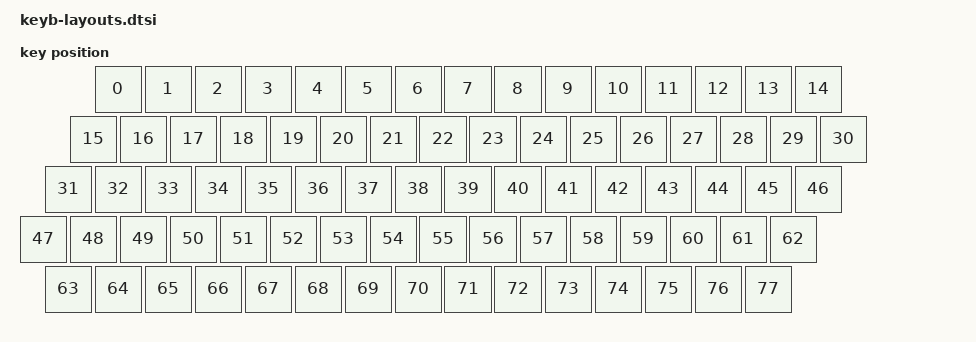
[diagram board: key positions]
#include <physical_layouts.dtsi>

/ {
    physical_layout0: physical_layout_0 {
        compatible = "zmk,physical-layout";
        display-name = "DefaultLayout";
        transform = <&default_transform>;

        keys  //                     w   h    x    y     rot    rx    ry
            = <&key_physical_attrs 100 100  150    0       0     0     0>
            , <&key_physical_attrs 100 100  250    0       0     0     0>
            , <&key_physical_attrs 100 100  350    0       0     0     0>
            , <&key_physical_attrs 100 100  450    0       0     0     0>
            , <&key_physical_attrs 100 100  550    0       0     0     0>
            , <&key_physical_attrs 100 100  650    0       0     0     0>
            , <&key_physical_attrs 100 100  750    0       0     0     0>
            , <&key_physical_attrs 100 100  850    0       0     0     0>
            , <&key_physical_attrs 100 100  950    0       0     0     0>
            , <&key_physical_attrs 100 100 1050    0       0     0     0>
            , <&key_physical_attrs 100 100 1150    0       0     0     0>
            , <&key_physical_attrs 100 100 1250    0       0     0     0>
            , <&key_physical_attrs 100 100 1350    0       0     0     0>
            , <&key_physical_attrs 100 100 1450    0       0     0     0>
            , <&key_physical_attrs 100 100 1550    0       0     0     0>
            , <&key_physical_attrs 100 100  100  100       0     0     0>
            , <&key_physical_attrs 100 100  200  100       0     0     0>
            , <&key_physical_attrs 100 100  300  100       0     0     0>
            , <&key_physical_attrs 100 100  400  100       0     0     0>
            , <&key_physical_attrs 100 100  500  100       0     0     0>
            , <&key_physical_attrs 100 100  600  100       0     0     0>
            , <&key_physical_attrs 100 100  700  100       0     0     0>
            , <&key_physical_attrs 100 100  800  100       0     0     0>
            , <&key_physical_attrs 100 100  900  100       0     0     0>
            , <&key_physical_attrs 100 100 1000  100       0     0     0>
            , <&key_physical_attrs 100 100 1100  100       0     0     0>
            , <&key_physical_attrs 100 100 1200  100       0     0     0>
            , <&key_physical_attrs 100 100 1300  100       0     0     0>
            , <&key_physical_attrs 100 100 1400  100       0     0     0>
            , <&key_physical_attrs 100 100 1500  100       0     0     0>
            , <&key_physical_attrs 100 100 1600  100       0     0     0>
            , <&key_physical_attrs 100 100   50  200       0     0     0>
            , <&key_physical_attrs 100 100  150  200       0     0     0>
            , <&key_physical_attrs 100 100  250  200       0     0     0>
            , <&key_physical_attrs 100 100  350  200       0     0     0>
            , <&key_physical_attrs 100 100  450  200       0     0     0>
            , <&key_physical_attrs 100 100  550  200       0     0     0>
            , <&key_physical_attrs 100 100  650  200       0     0     0>
            , <&key_physical_attrs 100 100  750  200       0     0     0>
            , <&key_physical_attrs 100 100  850  200       0     0     0>
            , <&key_physical_attrs 100 100  950  200       0     0     0>
            , <&key_physical_attrs 100 100 1050  200       0     0     0>
            , <&key_physical_attrs 100 100 1150  200       0     0     0>
            , <&key_physical_attrs 100 100 1250  200       0     0     0>
            , <&key_physical_attrs 100 100 1350  200       0     0     0>
            , <&key_physical_attrs 100 100 1450  200       0     0     0>
            , <&key_physical_attrs 100 100 1550  200       0     0     0>
            , <&key_physical_attrs 100 100    0  300       0     0     0>
            , <&key_physical_attrs 100 100  100  300       0     0     0>
            , <&key_physical_attrs 100 100  200  300       0     0     0>
            , <&key_physical_attrs 100 100  300  300       0     0     0>
            , <&key_physical_attrs 100 100  400  300       0     0     0>
            , <&key_physical_attrs 100 100  500  300       0     0     0>
            , <&key_physical_attrs 100 100  600  300       0     0     0>
            , <&key_physical_attrs 100 100  700  300       0     0     0>
            , <&key_physical_attrs 100 100  800  300       0     0     0>
            , <&key_physical_attrs 100 100  900  300       0     0     0>
            , <&key_physical_attrs 100 100 1000  300       0     0     0>
            , <&key_physical_attrs 100 100 1100  300       0     0     0>
            , <&key_physical_attrs 100 100 1200  300       0     0     0>
            , <&key_physical_attrs 100 100 1300  300       0     0     0>
            , <&key_physical_attrs 100 100 1400  300       0     0     0>
            , <&key_physical_attrs 100 100 1500  300       0     0     0>
            , <&key_physical_attrs 100 100   50  400       0     0     0>
            , <&key_physical_attrs 100 100  150  400       0     0     0>
            , <&key_physical_attrs 100 100  250  400       0     0     0>
            , <&key_physical_attrs 100 100  350  400       0     0     0>
            , <&key_physical_attrs 100 100  450  400       0     0     0>
            , <&key_physical_attrs 100 100  550  400       0     0     0>
            , <&key_physical_attrs 100 100  650  400       0     0     0>
            , <&key_physical_attrs 100 100  750  400       0     0     0>
            , <&key_physical_attrs 100 100  850  400       0     0     0>
            , <&key_physical_attrs 100 100  950  400       0     0     0>
            , <&key_physical_attrs 100 100 1050  400       0     0     0>
            , <&key_physical_attrs 100 100 1150  400       0     0     0>
            , <&key_physical_attrs 100 100 1250  400       0     0     0>
            , <&key_physical_attrs 100 100 1350  400       0     0     0>
            , <&key_physical_attrs 100 100 1450  400       0     0     0>
            ;
    };
};
